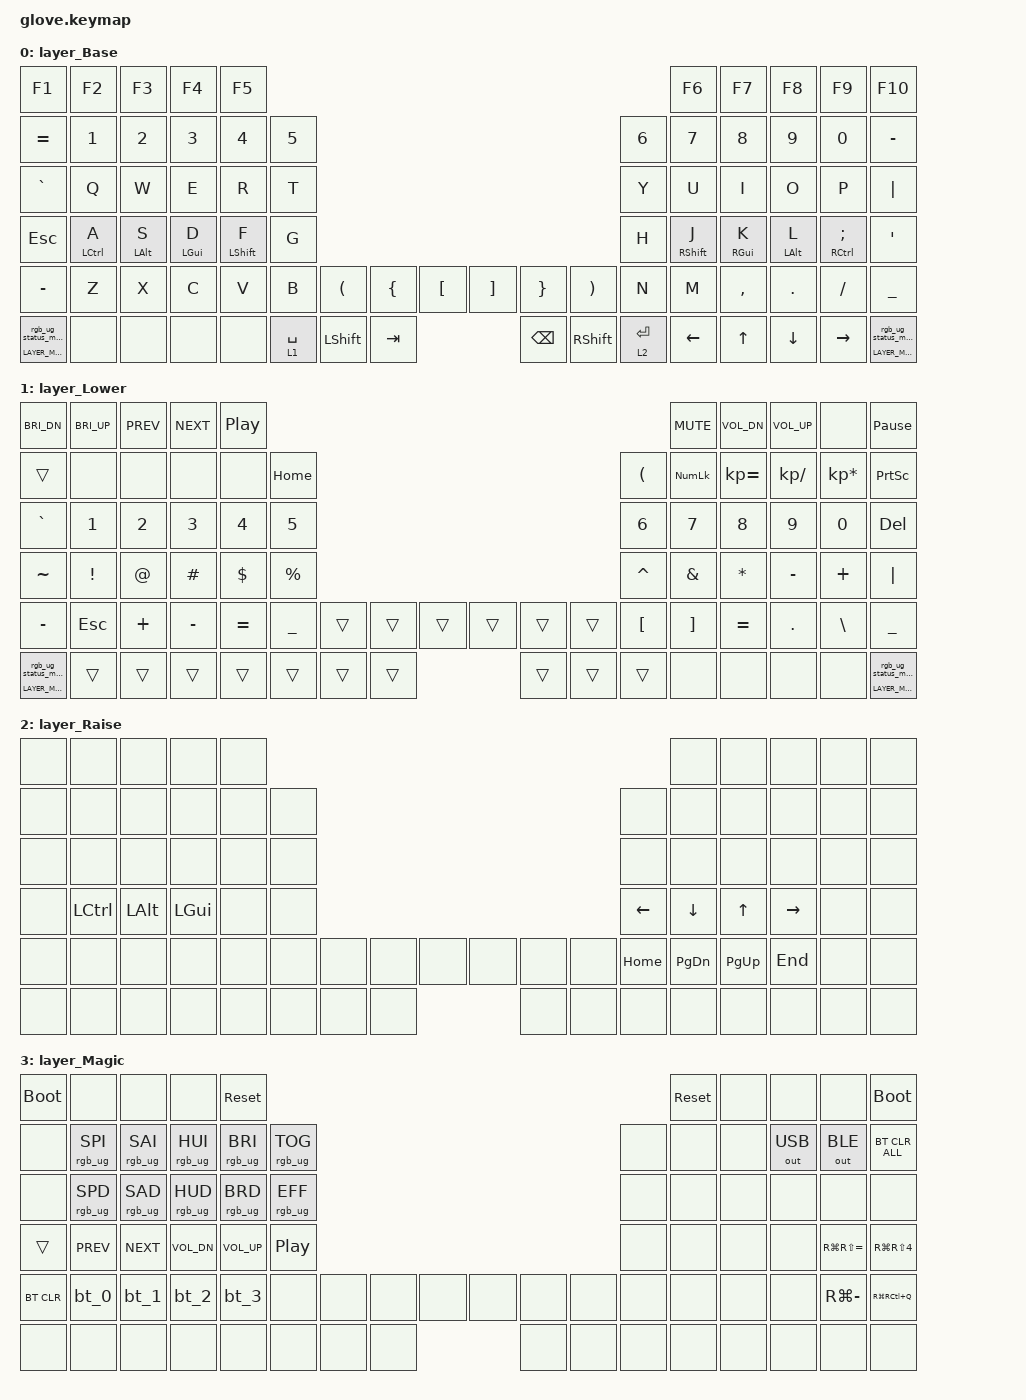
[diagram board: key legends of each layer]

/*
 * Copyright (c) 2020 The ZMK Contributors
 * Copyright (c) 2023 Innaworks Development Limited, trading as MoErgo
 *
 * SPDX-License-Identifier: MIT
 */


/* THIS FILE WAS GENERATED BY GLOVE80 LAYOUT EDITOR
 *
 * This file was generated automatically. You may or may not want to
 * edit it directly.
 */

#include <behaviors.dtsi>
/* Include all behavior includes needed */
#include <dt-bindings/zmk/outputs.h>
#include <dt-bindings/zmk/keys.h>
#include <dt-bindings/zmk/bt.h>
#include <dt-bindings/zmk/rgb.h>

/* Automatically generated layer name #define */
#define LAYER_Base 0
#define LAYER_Lower 1
#define LAYER_Raise 2
#define LAYER_Magic 3

/* To deal with the situation where there is no Lower layer, to keep &lower happy */
#ifndef LAYER_Lower
#define LAYER_Lower 0
#endif

/* Custom Device-tree */



/* Glove80 system behavior & macros */
/ {
    behaviors {
        // For the "layer" key, it'd nice to be able to use it as either a shift or a toggle.
        // Configure it as a tap dance, so the first tap (or hold) is a &mo and the second tap is a &to
        lower: lower {
            compatible = "zmk,behavior-tap-dance";
            label = "LAYER_TAP_DANCE";
            #binding-cells = <0>;
            tapping-term-ms = <200>;
            bindings = <&mo LAYER_Lower>, <&to LAYER_Lower>;
        };
    };
};

/ {
    macros {
        rgb_ug_status_macro: rgb_ug_status_macro {
            label = "RGB_UG_STATUS";
            compatible = "zmk,behavior-macro";
            #binding-cells = <0>;
            bindings
                = <&rgb_ug RGB_STATUS>;
        };
    };
};


/ {
#ifdef BT_DISC_CMD
    behaviors {
        bt_0: bt_0 {
            compatible = "zmk,behavior-tap-dance";
            label = "BT_0";
            #binding-cells = <0>;
            tapping-term-ms = <200>;
            bindings = <&bt_select_0>, <&bt BT_DISC 0>;
        };
        bt_1: bt_1 {
            compatible = "zmk,behavior-tap-dance";
            label = "BT_1";
            #binding-cells = <0>;
            tapping-term-ms = <200>;
            bindings = <&bt_select_1>, <&bt BT_DISC 1>;
        };
        bt_2: bt_2 {
            compatible = "zmk,behavior-tap-dance";
            label = "BT_2";
            #binding-cells = <0>;
            tapping-term-ms = <200>;
            bindings = <&bt_select_2>, <&bt BT_DISC 2>;
        };
        bt_3: bt_3 {
            compatible = "zmk,behavior-tap-dance";
            label = "BT_3";
            #binding-cells = <0>;
            tapping-term-ms = <200>;
            bindings = <&bt_select_3>, <&bt BT_DISC 3>;
        };
    };
    macros {
        bt_select_0: bt_select_0 {
            label = "BT_SELECT_0";
            compatible = "zmk,behavior-macro";
            #binding-cells = <0>;
            bindings
                = <&out OUT_BLE>,
                  <&bt BT_SEL 0>;
        };
        bt_select_1: bt_select_1 {
            label = "BT_SELECT_1";
            compatible = "zmk,behavior-macro";
            #binding-cells = <0>;
            bindings
                = <&out OUT_BLE>,
                  <&bt BT_SEL 1>;
        };
        bt_select_2: bt_select_2 {
            label = "BT_SELECT_2";
            compatible = "zmk,behavior-macro";
            #binding-cells = <0>;
            bindings
                = <&out OUT_BLE>,
                  <&bt BT_SEL 2>;
        };
        bt_select_3: bt_select_3 {
            label = "BT_SELECT_3";
            compatible = "zmk,behavior-macro";
            #binding-cells = <0>;
            bindings
                = <&out OUT_BLE>,
                  <&bt BT_SEL 3>;
        };
    };
#else
    macros {
        bt_0: bt_0 {
            label = "BT_0";
            compatible = "zmk,behavior-macro";
            #binding-cells = <0>;
            bindings
                = <&out OUT_BLE>,
                  <&bt BT_SEL 0>;
        };
        bt_1: bt_1 {
            label = "BT_1";
            compatible = "zmk,behavior-macro";
            #binding-cells = <0>;
            bindings
                = <&out OUT_BLE>,
                  <&bt BT_SEL 1>;
        };
        bt_2: bt_2 {
            label = "BT_2";
            compatible = "zmk,behavior-macro";
            #binding-cells = <0>;
            bindings
                = <&out OUT_BLE>,
                  <&bt BT_SEL 2>;
        };
        bt_3: bt_3 {
            label = "BT_3";
            compatible = "zmk,behavior-macro";
            #binding-cells = <0>;
            bindings
                = <&out OUT_BLE>,
                  <&bt BT_SEL 3>;
        };
    };
#endif
};

/ {
    behaviors {
        magic: magic {
            compatible = "zmk,behavior-hold-tap";
            label = "MAGIC_HOLD_TAP";
            #binding-cells = <2>;
            flavor = "tap-preferred";
            tapping-term-ms = <200>;
            bindings = <&mo>, <&rgb_ug_status_macro>;
        };
    };
};

/* #define for key positions */
#define POS_LH_T1 52
#define POS_LH_T2 53
#define POS_LH_T3 54
#define POS_LH_T4 69
#define POS_LH_T5 70
#define POS_LH_T6 71
#define POS_LH_C1R2 15
#define POS_LH_C1R3 27
#define POS_LH_C1R4 39
#define POS_LH_C1R5 51
#define POS_LH_C2R1 4
#define POS_LH_C2R2 14
#define POS_LH_C2R3 26
#define POS_LH_C2R4 38
#define POS_LH_C2R5 50
#define POS_LH_C2R6 68
#define POS_LH_C3R1 3
#define POS_LH_C3R2 13
#define POS_LH_C3R3 25
#define POS_LH_C3R4 37
#define POS_LH_C3R5 49
#define POS_LH_C3R6 67
#define POS_LH_C4R1 2
#define POS_LH_C4R2 12
#define POS_LH_C4R3 24
#define POS_LH_C4R4 36
#define POS_LH_C4R5 48
#define POS_LH_C4R6 66
#define POS_LH_C5R1 1
#define POS_LH_C5R2 11
#define POS_LH_C5R3 23
#define POS_LH_C5R4 35
#define POS_LH_C5R5 47
#define POS_LH_C5R6 65
#define POS_LH_C6R1 0
#define POS_LH_C6R2 10
#define POS_LH_C6R3 22
#define POS_LH_C6R4 34
#define POS_LH_C6R5 46
#define POS_LH_C6R6 64
#define POS_RH_T1 57
#define POS_RH_T2 56
#define POS_RH_T3 55
#define POS_RH_T4 74
#define POS_RH_T5 73
#define POS_RH_T6 72
#define POS_RH_C1R2 16
#define POS_RH_C1R3 28
#define POS_RH_C1R4 40
#define POS_RH_C1R5 58
#define POS_RH_C2R1 5
#define POS_RH_C2R2 17
#define POS_RH_C2R3 29
#define POS_RH_C2R4 41
#define POS_RH_C2R5 59
#define POS_RH_C2R6 75
#define POS_RH_C3R1 6
#define POS_RH_C3R2 18
#define POS_RH_C3R3 30
#define POS_RH_C3R4 42
#define POS_RH_C3R5 60
#define POS_RH_C3R6 76
#define POS_RH_C4R1 7
#define POS_RH_C4R2 19
#define POS_RH_C4R3 31
#define POS_RH_C4R4 43
#define POS_RH_C4R5 61
#define POS_RH_C4R6 77
#define POS_RH_C5R1 8
#define POS_RH_C5R2 20
#define POS_RH_C5R3 32
#define POS_RH_C5R4 44
#define POS_RH_C5R5 62
#define POS_RH_C5R6 78
#define POS_RH_C6R1 9
#define POS_RH_C6R2 21
#define POS_RH_C6R3 33
#define POS_RH_C6R4 45
#define POS_RH_C6R5 63
#define POS_RH_C6R6 79

/* Custom Defined Behaviors */
/ {

#define KEYS_LEFT POS_LH_C1R2 POS_LH_C1R3 POS_LH_C1R4 POS_LH_C1R5 POS_LH_C2R1 POS_LH_C2R2 POS_LH_C2R3 POS_LH_C2R4 POS_LH_C2R5 POS_LH_C2R6 POS_LH_C3R1 POS_LH_C3R2 POS_LH_C3R3 POS_LH_C3R4 POS_LH_C3R5 POS_LH_C3R6 POS_LH_C4R1 POS_LH_C4R2 POS_LH_C4R3 POS_LH_C4R4 POS_LH_C4R5 POS_LH_C4R6 POS_LH_C5R1 POS_LH_C5R2 POS_LH_C5R3 POS_LH_C5R4 POS_LH_C5R5 POS_LH_C5R6 POS_LH_C6R1 POS_LH_C6R2 POS_LH_C6R3 POS_LH_C6R4 POS_LH_C6R5 POS_LH_C6R6
#define KEYS_RIGHT POS_RH_C1R2 POS_RH_C1R3 POS_RH_C1R4 POS_RH_C1R5 POS_RH_C2R1 POS_RH_C2R2 POS_RH_C2R3 POS_RH_C2R4 POS_RH_C2R5 POS_RH_C2R6 POS_RH_C3R1 POS_RH_C3R2 POS_RH_C3R3 POS_RH_C3R4 POS_RH_C3R5 POS_RH_C3R6 POS_RH_C4R1 POS_RH_C4R2 POS_RH_C4R3 POS_RH_C4R4 POS_RH_C4R5 POS_RH_C4R6 POS_RH_C5R1 POS_RH_C5R2 POS_RH_C5R3 POS_RH_C5R4 POS_RH_C5R5 POS_RH_C5R6 POS_RH_C6R1 POS_RH_C6R2 POS_RH_C6R3 POS_RH_C6R4 POS_RH_C6R5 POS_RH_C6R6
#define THUMBS POS_RH_T1 POS_RH_T2 POS_RH_T3 POS_RH_T4 POS_RH_T5 POS_RH_T6 POS_LH_T1 POS_LH_T2 POS_LH_T3 POS_LH_T4 POS_LH_T5 POS_LH_T6


#define TAP_TERM_MS             270
#define QUICK_TAP_MS            300
#define REQUIRE_PRIOR_IDLE_MS   250

#define INDEX_TAP_TERM_MS             170
#define INDEX_QUICK_TAP_MS            300
#define INDEX_REQUIRE_PRIOR_IDLE_MS   150

behaviors {
    // For the "layer" key, it'd nice to be able to use it as either a shift or a toggle.
    // Configure it as a tap dance, so the first tap (or hold) is a &mo and the second tap is a &to

    hml: hold_tap_left {
        compatible = "zmk,behavior-hold-tap";
        label = "HRM_HOLD_TAP_LEFT";
        flavor = "tap-preferred";
        tapping-term-ms = <TAP_TERM_MS>;
        quick-tap-ms = <QUICK_TAP_MS>;
        require-prior-idle-ms = <REQUIRE_PRIOR_IDLE_MS>;
        #binding-cells = <2>;
        bindings = <&kp>, <&kp>;

        hold-trigger-key-positions = <KEYS_RIGHT THUMBS>;
        hold-trigger-on-release;
    };

    hmli: hold_tap_left_index {
        compatible = "zmk,behavior-hold-tap";
        label = "HRM_HOLD_TAP_LEFT_INDEX";
        flavor = "tap-preferred";
        tapping-term-ms = <INDEX_TAP_TERM_MS>;
        quick-tap-ms = <INDEX_QUICK_TAP_MS>;
        require-prior-idle-ms = <INDEX_REQUIRE_PRIOR_IDLE_MS>;
        #binding-cells = <2>;
        bindings = <&kp>, <&kp>;

        hold-trigger-key-positions = <KEYS_RIGHT THUMBS>;
        hold-trigger-on-release;
    };

    hmr: hold_tap_right {
        compatible = "zmk,behavior-hold-tap";
        label = "HRM_HOLD_TAP_RIGHT";
        flavor = "tap-preferred";
        tapping-term-ms = <TAP_TERM_MS>;
        quick-tap-ms = <QUICK_TAP_MS>;
        require-prior-idle-ms = <REQUIRE_PRIOR_IDLE_MS>;
        #binding-cells = <2>;
        bindings = <&kp>, <&kp>;

        hold-trigger-key-positions = <KEYS_LEFT THUMBS>;
        hold-trigger-on-release;
    };

    hmri: hold_tap_right_index {
        compatible = "zmk,behavior-hold-tap";
        label = "HRM_HOLD_TAP_RIGHT_INDEX";
        flavor = "tap-preferred";
        tapping-term-ms = <INDEX_TAP_TERM_MS>;
        quick-tap-ms = <INDEX_QUICK_TAP_MS>;
        require-prior-idle-ms = <INDEX_REQUIRE_PRIOR_IDLE_MS>;
        #binding-cells = <2>;
        bindings = <&kp>, <&kp>;

        hold-trigger-key-positions = <KEYS_LEFT THUMBS>;
        hold-trigger-on-release;
    };

    qt: quick_tap {
        compatible = "zmk,behavior-hold-tap";
        label = "QUICK_TAP";
        flavor = "balanced";
        tapping-term-ms = <200>;
        quick-tap-ms = <175>;
        require-prior-idle-ms = <150>;
        #binding-cells = <2>;
        bindings = <&kp>, <&kp>;

        hold-trigger-on-release;
    };    



};




};

/* Automatically generated macro definitions */
/ {
    macros {
    
    };
};

/* Automatically generated combos definitions */
/ {
    combos {
            compatible = "zmk,combos";
    };
};

/* Automatically generated keymap */
/ {
    keymap {
        compatible = "zmk,keymap";


        layer_Base {
            bindings = <
               &kp F1        &kp F2       &kp F3       &kp F4         &kp F5                                                                                           &kp F6       &kp F7       &kp F8           &kp F9               &kp F10
            &kp EQUAL        &kp N1       &kp N2       &kp N3         &kp N4  &kp N5                                                                    &kp N6         &kp N7       &kp N8       &kp N9           &kp N0             &kp MINUS
            &kp GRAVE         &kp Q        &kp W        &kp E          &kp R   &kp T                                                                     &kp Y          &kp U        &kp I        &kp O            &kp P              &kp PIPE
              &kp ESC  &hml LCTRL A  &hml LALT S  &hml LGUI D  &hmli LSHFT F   &kp G                                                                     &kp H  &hmri RSHFT J  &hmr RGUI K  &hmr LALT L  &hmr RCTRL SEMI               &kp SQT
            &kp MINUS         &kp Z        &kp X        &kp C          &kp V   &kp B     &kp LPAR   &kp LBRC  &kp LBKT  &kp RBKT   &kp RBRC   &kp RPAR   &kp N          &kp M    &kp COMMA      &kp DOT         &kp FSLH             &kp UNDER
 &magic LAYER_Magic 0         &none        &none        &none          &none          &lt 1 SPACE  &kp LSHFT   &kp TAB  &kp BSPC  &kp RSHFT  &lt 2 RET               &kp LEFT       &kp UP     &kp DOWN        &kp RIGHT  &magic LAYER_Magic 0
            >;
        };

        layer_Lower {
            bindings = <
         &kp C_BRI_DN  &kp C_BRI_UP  &kp C_PREV  &kp C_NEXT   &kp C_PP                                                                                   &kp C_MUTE  &kp C_VOL_DN  &kp C_VOL_UP            &none       &kp PAUSE_BREAK
               &trans         &none       &none       &none      &none   &kp HOME                                                  &kp LEFT_PARENTHESIS  &kp KP_NUM  &kp KP_EQUAL  &kp KP_SLASH  &kp KP_MULTIPLY       &kp PRINTSCREEN
            &kp GRAVE        &kp N1      &kp N2      &kp N3     &kp N4     &kp N5                                                                &kp N6      &kp N7        &kp N8        &kp N9           &kp N0               &kp DEL
            &kp TILDE      &kp EXCL      &kp AT    &kp HASH   &kp DLLR  &kp PRCNT                                                             &kp CARET    &kp AMPS      &kp STAR     &kp MINUS         &kp PLUS              &kp PIPE
            &kp MINUS       &kp ESC    &kp PLUS   &kp MINUS  &kp EQUAL  &kp UNDER  &trans  &trans  &trans  &trans  &trans  &trans              &kp LBKT    &kp RBKT     &kp EQUAL       &kp DOT         &kp BSLH             &kp UNDER
 &magic LAYER_Magic 0        &trans      &trans      &trans     &trans             &trans  &trans  &trans  &trans  &trans  &trans                             &none         &none         &none            &none  &magic LAYER_Magic 0
            >;
        };

        layer_Raise {
            bindings = <
  &none      &none     &none     &none   &none                                                                        &none      &none      &none   &none   &none
  &none      &none     &none     &none   &none   &none                                                     &none      &none      &none      &none   &none   &none
  &none      &none     &none     &none   &none   &none                                                     &none      &none      &none      &none   &none   &none
  &none  &kp LCTRL  &kp LALT  &kp LGUI   &none   &none                                                  &kp LEFT   &kp DOWN     &kp UP  &kp RIGHT   &none   &none
  &none      &none     &none     &none   &none   &none   &none   &none   &none   &none   &none   &none  &kp HOME  &kp PG_DN  &kp PG_UP    &kp END   &none   &none
  &none      &none     &none     &none   &none           &none   &none   &none   &none   &none   &none                &none      &none      &none   &none   &none
            >;
        };

        layer_Magic {
            bindings = <
 &bootloader            &none            &none            &none       &sys_reset                                                                           &sys_reset   &none         &none              &none     &bootloader
       &none  &rgb_ug RGB_SPI  &rgb_ug RGB_SAI  &rgb_ug RGB_HUI  &rgb_ug RGB_BRI  &rgb_ug RGB_TOG                                                   &none       &none   &none  &out OUT_USB       &out OUT_BLE  &bt BT_CLR_ALL
       &none  &rgb_ug RGB_SPD  &rgb_ug RGB_SAD  &rgb_ug RGB_HUD  &rgb_ug RGB_BRD  &rgb_ug RGB_EFF                                                   &none       &none   &none         &none              &none           &none
      &trans       &kp C_PREV       &kp C_NEXT     &kp C_VOL_DN     &kp C_VOL_UP         &kp C_PP                                                   &none       &none   &none         &none  &kp RG(RS(EQUAL))  &kp RG(RS(N4))
  &bt BT_CLR            &bt_0            &bt_1            &bt_2            &bt_3            &none   &none   &none   &none   &none   &none   &none   &none       &none   &none         &none      &kp RG(MINUS)   &kp RG(RC(Q))
       &none            &none            &none            &none            &none                    &none   &none   &none   &none   &none   &none               &none   &none         &none              &none           &none
            >;
        };

    };
};
